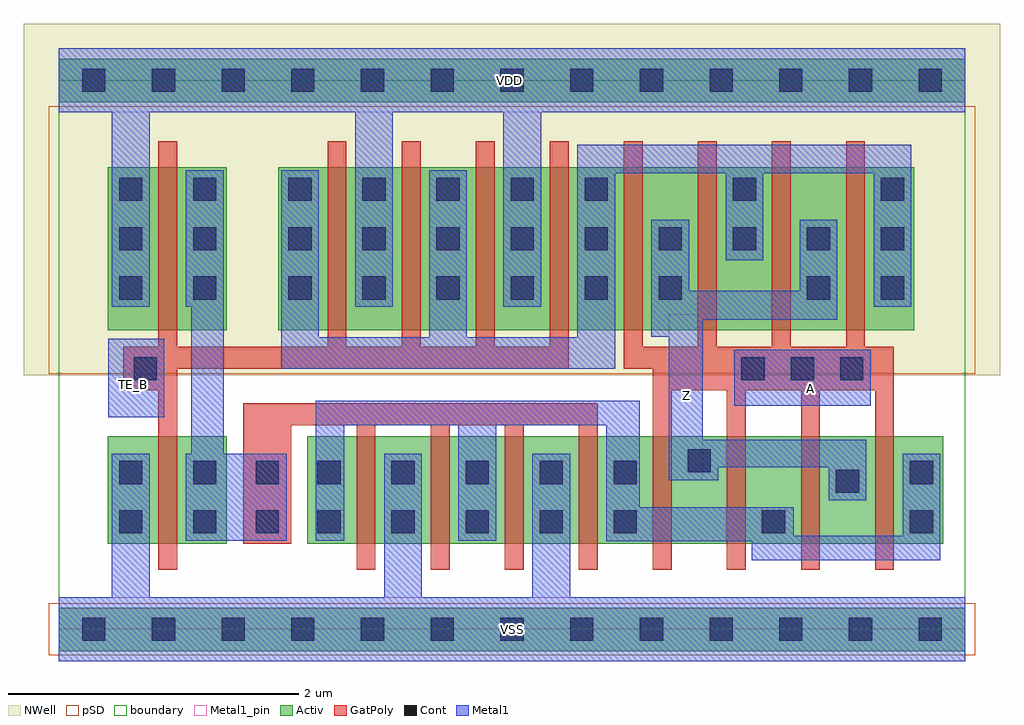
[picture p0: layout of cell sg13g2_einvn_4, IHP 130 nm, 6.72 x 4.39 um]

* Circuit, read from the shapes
.subckt sg13g2_einvn_4 A TE_B VDD VSS Z
XM1 n1 TE_B VSS VSS sg13_lv_nmos w=0.74u l=0.13u
XM2 VSS n1 n2 VSS sg13_lv_nmos w=0.74u l=0.13u m=4
XM3 Z A n2 VSS sg13_lv_nmos w=0.74u l=0.13u m=4
XM4 n1 TE_B VDD VDD sg13_lv_pmos w=1.12u l=0.13u
XM5 VDD TE_B n3 VDD sg13_lv_pmos w=1.12u l=0.13u m=4
XM6 Z A n3 VDD sg13_lv_pmos w=1.12u l=0.13u m=4
.ends

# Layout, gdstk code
import gdstk
lib = gdstk.Library(unit=1e-6, precision=1e-09)
def R(c, l, rs):  # rectangles x0, y0, x1, y1
    for r in rs: c.add(gdstk.rectangle(r[:2], r[2:], *l))
def A(c, l, x, y, w, h, nx, ny, dx, dy):  # array of equal rectangles
    R(c, l, [(x+i*dx, y+j*dy, x+i*dx+w, y+j*dy+h) for i in range(nx) for j in range(ny)])
def P(c, l, *ps):  # polygons
    for p in ps: c.add(gdstk.Polygon(p, *l))
Activ = (1, 0)
GatPoly = (5, 0)
Cont = (6, 0)
Metal1 = (8, 0)
Metal1_pin = (8, 2)
pSD = (14, 0)
NWell = (31, 0)
boundary = (189, 4)

sg13g2_einvn_4 = lib.new_cell('sg13g2_einvn_4')
R(sg13g2_einvn_4, Activ, [(0,-0.15,6.24,0.15), (0.335,0.59,1.155,1.33), (1.71,0.59,6.09,1.33), (0.335,2.06,1.155,3.18), (1.51,2.06,5.89,3.18), (0,3.63,6.24,3.93)])
P(sg13g2_einvn_4, GatPoly, [(4.09,0.41),(4.09,1.795),(3.89,1.795),(3.89,3.36),(4.02,3.36),(4.02,1.945),(4.4,1.945),(4.4,3.36),(4.53,3.36),(4.53,1.945),(4.91,1.945),(4.91,3.36),(5.04,3.36),(5.04,1.945),(5.42,1.945),(5.42,3.36),(5.55,3.36),(5.55,1.945),(5.75,1.945),(5.75,0.41),(5.62,0.41),(5.62,1.645),(5.24,1.645),(5.24,0.41),(5.11,0.41),(5.11,1.645),(4.73,1.645),(4.73,0.41),(4.6,0.41),(4.6,1.645),(4.22,1.645),(4.22,0.41)],
  [(2.05,0.41),(2.05,1.405),(1.6,1.405),(1.6,0.59),(1.27,0.59),(1.27,1.555),(3.71,1.555),(3.71,0.41),(3.58,0.41),(3.58,1.405),(3.2,1.405),(3.2,0.41),(3.07,0.41),(3.07,1.405),(2.69,1.405),(2.69,0.41),(2.56,0.41),(2.56,1.405),(2.18,1.405),(2.18,0.41)],
  [(0.685,0.41),(0.685,1.645),(0.445,1.645),(0.445,1.945),(0.685,1.945),(0.685,3.36),(0.815,3.36),(0.815,1.945),(1.85,1.945),(1.85,3.36),(1.98,3.36),(1.98,1.945),(2.36,1.945),(2.36,3.36),(2.49,3.36),(2.49,1.945),(2.87,1.945),(2.87,3.36),(3,3.36),(3,1.945),(3.38,1.945),(3.38,3.36),(3.51,3.36),(3.51,1.795),(0.815,1.795),(0.815,0.41)])
A(sg13g2_einvn_4, Cont, 0.16, -0.08, 0.16, 0.16, 13, 2, 0.48, 3.78)
A(sg13g2_einvn_4, Cont, 1.78, 0.66, 0.16, 0.16, 5, 2, 0.51, 0.34)
A(sg13g2_einvn_4, Cont, 4.7, 1.715, 0.16, 0.16, 3, 1, 0.34, 0)
A(sg13g2_einvn_4, Cont, 0.415, 2.27, 0.16, 0.16, 1, 3, 0, 0.34)
A(sg13g2_einvn_4, Cont, 0.925, 2.27, 0.16, 0.16, 1, 3, 0, 0.34)
A(sg13g2_einvn_4, Cont, 1.58, 2.27, 0.16, 0.16, 6, 1, 0.51, 0)
A(sg13g2_einvn_4, Cont, 1.58, 2.61, 0.16, 0.16, 9, 1, 0.51, 0)
A(sg13g2_einvn_4, Cont, 1.58, 2.95, 0.16, 0.16, 5, 1, 0.51, 0)
R(sg13g2_einvn_4, Cont, [(0.415,0.66,0.575,0.82), (0.925,0.66,1.085,0.82), (1.355,0.66,1.515,0.82), (4.84,0.66,5,0.82), (5.86,0.66,6.02,0.82), (5.35,0.94,5.51,1.1), (0.415,1,0.575,1.16), (0.925,1,1.085,1.16), (1.355,1,1.515,1.16), (5.86,1,6.02,1.16), (4.33,1.08,4.49,1.24), (0.515,1.715,0.675,1.875), (5.15,2.27,5.31,2.43), (5.66,2.27,5.82,2.43), (4.64,2.95,4.8,3.11), (5.66,2.95,5.82,3.11)])
R(sg13g2_einvn_4, Metal1, [(0.34,1.46,0.725,2), (4.65,1.54,5.59,1.925)])
P(sg13g2_einvn_4, Metal1, [(0,-0.22),(0,0.22),(0.365,0.22),(0.365,1.21),(0.625,1.21),(0.625,0.22),(2.24,0.22),(2.24,1.21),(2.5,1.21),(2.5,0.22),(3.26,0.22),(3.26,1.21),(3.52,1.21),(3.52,0.22),(6.24,0.22),(6.24,-0.22)],
  [(0.365,2.22),(0.365,3.56),(0,3.56),(0,4),(6.24,4),(6.24,3.56),(3.32,3.56),(3.32,2.22),(3.06,2.22),(3.06,3.56),(2.3,3.56),(2.3,2.22),(2.04,2.22),(2.04,3.56),(0.625,3.56),(0.625,2.22)],
  [(4.77,0.475),(4.77,0.605),(3.77,0.605),(3.77,1.405),(3.01,1.405),(3.01,0.61),(2.75,0.61),(2.75,1.405),(1.965,1.405),(1.965,0.61),(1.77,0.61),(1.77,1.575),(4,1.575),(4,0.84),(5.06,0.84),(5.06,0.645),(5.81,0.645),(5.81,1.21),(6.07,1.21),(6.07,0.475)],
  [(1.53,1.795),(1.53,3.16),(1.79,3.16),(1.79,2.01),(2.55,2.01),(2.55,3.16),(2.81,3.16),(2.81,2.01),(3.57,2.01),(3.57,3.335),(5.87,3.335),(5.87,2.22),(5.61,2.22),(5.61,3.14),(4.85,3.14),(4.85,2.54),(4.59,2.54),(4.59,3.14),(3.83,3.14),(3.83,1.795)],
  [(0.875,0.61),(0.875,1.21),(0.91,1.21),(0.91,2.22),(0.875,2.22),(0.875,3.16),(1.135,3.16),(1.135,1.21),(1.57,1.21),(1.57,0.61)],
  [(5.3,0.89),(5.3,1.115),(4.54,1.115),(4.54,1.025),(4.2,1.025),(4.2,2.015),(4.08,2.015),(4.08,2.82),(4.34,2.82),(4.34,2.33),(5.1,2.33),(5.1,2.82),(5.36,2.82),(5.36,2.13),(4.435,2.13),(4.435,1.305),(5.56,1.305),(5.56,0.89)])
R(sg13g2_einvn_4, Metal1_pin, [(0,-0.22,6.24,0.22), (4.2,1.025,4.435,2.17), (0.34,1.46,0.725,2), (4.65,1.54,5.59,1.925), (0,3.56,6.24,4)])
R(sg13g2_einvn_4, pSD, [(-0.07,-0.18,6.31,0.18), (-0.07,1.76,6.31,3.6)])
R(sg13g2_einvn_4, NWell, [(-0.24,1.75,6.48,4.17)])
R(sg13g2_einvn_4, boundary, [(0,0,6.24,3.78)])
sg13g2_einvn_4.add(gdstk.Label('A', (5.175,1.655), layer=8, texttype=25))
sg13g2_einvn_4.add(gdstk.Label('VSS', (3.12,0), layer=8, texttype=25))
sg13g2_einvn_4.add(gdstk.Label('VDD', (3.1,3.78), layer=8, texttype=25))
sg13g2_einvn_4.add(gdstk.Label('TE_B', (0.515,1.685), layer=8, texttype=25))
sg13g2_einvn_4.add(gdstk.Label('Z', (4.32,1.61), layer=8, texttype=25))

lib.write_gds('sg13g2_einvn_4.gds')
